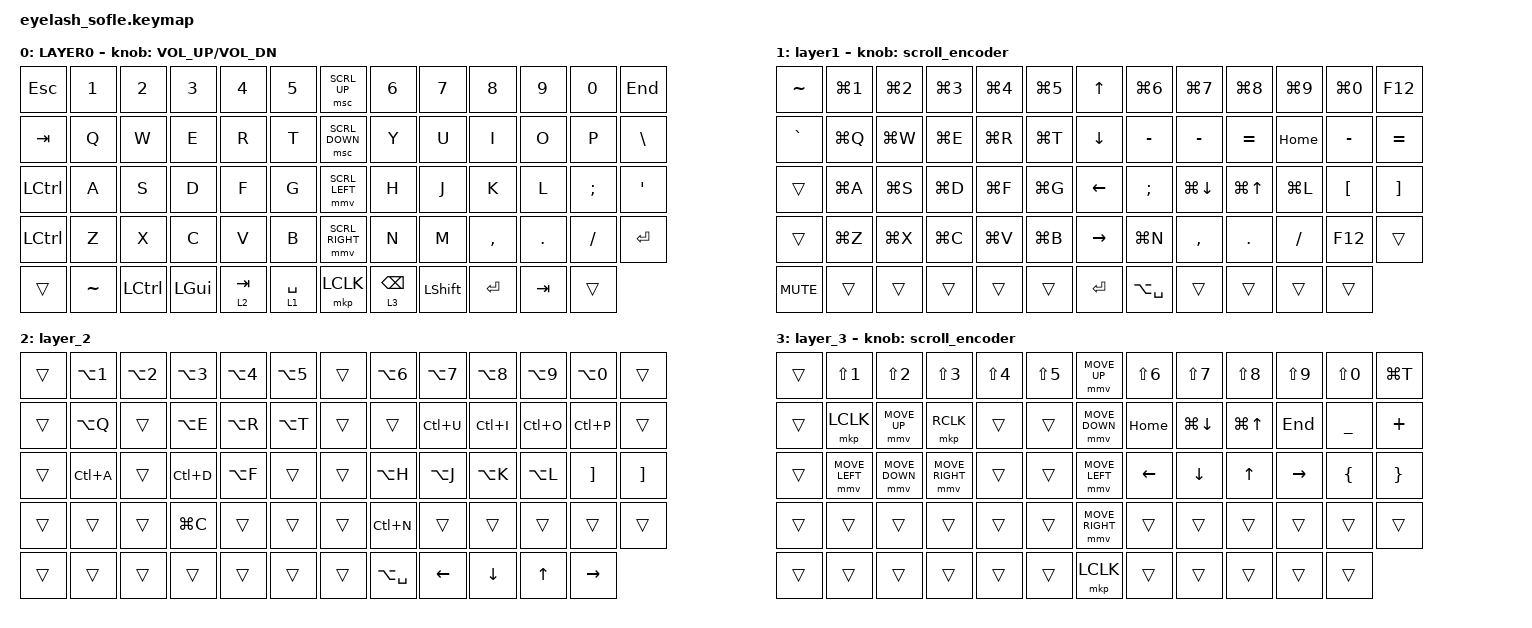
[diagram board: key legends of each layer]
#define ZMK_POINTING_DEFAULT_MOVE_VAL 1200  // 600
#define ZMK_POINTING_DEFAULT_SCRL_VAL 25   // 10

#include <input/processors.dtsi>
#include <zephyr/dt-bindings/input/input-event-codes.h>
#include <behaviors.dtsi>
#include <dt-bindings/zmk/bt.h>
#include <dt-bindings/zmk/ext_power.h>
#include <dt-bindings/zmk/keys.h>
#include <dt-bindings/zmk/pointing.h>
#include <dt-bindings/zmk/rgb.h>
#include <dt-bindings/zmk/outputs.h>

&mmv_input_listener { input-processors = <&zip_xy_scaler 2 1>; };

&msc_input_listener { input-processors = <&zip_scroll_scaler 2 1>; };

&msc {
    acceleration-exponent = <1>;      // 0
    time-to-max-speed-ms = <100>;       // 300
    delay-ms = <0>;                   // 0
};

&mmv {
    time-to-max-speed-ms = <500>;
    acceleration-exponent = <1>;
    trigger-period-ms = <16>;
};


/ {

    scroll_encoder: scroll_encoder {
        compatible = "zmk,behavior-sensor-rotate";
        #sensor-binding-cells = <0>;
        bindings = <&msc SCRL_DOWN>, <&msc SCRL_UP>;
        tap-ms = <100>;
    };

    keymap {
        compatible = "zmk,keymap";

        layer0 {
            bindings = <
&kp ESC    &kp N1     &kp N2      &kp N3        &kp N4              &kp N5        &msc SCRL_UP   &kp N6        &kp N7       &kp N8            &kp N9         &kp N0       &kp END
&kp TAB    &kp Q      &kp W       &kp E         &kp R               &kp T         &msc SCRL_DOWN      &kp Y         &kp U        &kp I             &kp O          &kp P        &kp BSLH
&kp LCTRL   &kp A      &kp S       &kp D         &kp F               &kp G         &mmv SCRL_LEFT    &kp H         &kp J        &kp K             &kp L          &kp SEMI     &kp APOS
&kp LCTRL  &kp Z      &kp X       &kp C         &kp V               &kp B         &mmv SCRL_RIGHT    &kp N         &kp M        &kp COMMA         &kp DOT        &kp FSLH     &kp ENTER
&trans     &kp TILDE     &kp LCTRL   &kp LGUI      &lt 2 TAB     &lt 1 SPACE         &mkp LCLK         &lt 3 BACKSPACE  &kp LSHFT  &kp ENTER     &kp TAB        &trans
            >;

            sensor-bindings = <&inc_dec_kp C_VOLUME_UP C_VOL_DN>;
            display-name = "LAYER0";
        };

        layer_1 {
            bindings = <
&kp TILDE      &kp LG(N1)       &kp LG(N2)      &kp LG(N3)       &kp LG(N4)     &kp LG(N5)   &kp UP_ARROW      &kp LG(N6)    &kp LG(N7)     &kp LG(N8)             &kp LG(N9)     &kp LG(N0)        &kp F12
&kp GRAVE      &kp LG(Q)        &kp LG(W)       &kp LG(E)        &kp LG(R)      &kp LG(T)    &kp DOWN_ARROW    &kp MINUS     &kp MINUS      &kp EQUAL        &kp HOME              &kp MINUS            &kp EQUAL
&trans         &kp LG(A)        &kp LG(S)       &kp LG(D)        &kp LG(F)      &kp LG(G)    &kp LEFT_ARROW    &kp SEMI      &kp LG(DOWN)      &kp LG(UP)       &kp LG(L)      &kp LEFT_BRACKET  &kp RIGHT_BRACKET
&trans         &kp LG(Z)        &kp LG(X)       &kp LG(C)        &kp LG(V)      &kp LG(B)    &kp RIGHT_ARROW   &kp LG(N)     &kp COMMA     &kp DOT        &kp FSLH                   &kp F12           &trans
&kp C_MUTE     &trans           &trans          &trans           &trans         &trans       &kp ENTER         &kp LA(SPACE) &trans         &trans                 &trans         &trans
            >;

            display-name = "layer1";
            sensor-bindings = <&scroll_encoder>;
        };

        layer_2 {
            bindings = <
&trans  &kp LA(N1) &kp LA(N2)  &kp LA(N3) &kp LA(N4) &kp LA(N5)    &trans     &kp LA(N6)      &kp LA(N7)  &kp LA(N8) &kp LA(N9) &kp LA(N0)         &trans
&trans  &kp LA(Q)  &trans      &kp LA(E)  &kp LA(R)  &kp LA(T)     &trans     &trans          &kp LC(U)   &kp LC(I)  &kp LC(O)  &kp LC(P)           &trans
&trans  &kp LC(A)  &trans      &kp LC(D)  &kp LA(F)  &trans        &trans     &kp LA(H)       &kp LA(J)   &kp LA(K)  &kp LA(L)  &kp RIGHT_BRACKET  &kp RIGHT_BRACKET
&trans  &trans     &trans      &kp LG(C)  &trans     &trans        &trans     &kp LC(N)       &trans      &trans     &trans     &trans             &trans
&trans  &trans     &trans      &trans     &trans     &trans        &trans     &kp LA(SPACE)   &kp LEFT    &kp DOWN     &kp UP  &kp RIGHT
            >;
        };

        layer_3 {
            bindings = <
&trans     &kp LS(N1)      &kp LS(N2)        &kp LS(N3)      &kp LS(N4)      &kp LS(N5)      &mmv MOVE_UP     &kp LS(N6)  &kp LS(N7)  &kp LS(N8)      &kp LS(N9)  &kp LS(N0)      &kp LG(T)
&trans     &mkp LCLK       &mmv MOVE_UP      &mkp RCLK       &trans   &trans          &mmv MOVE_DOWN   &kp HOME   &kp LG(DOWN)   &kp LG(UP)    &kp END        &kp UNDER  &kp PLUS
&trans     &mmv MOVE_LEFT  &mmv MOVE_DOWN    &mmv MOVE_RIGHT &trans   &trans          &mmv MOVE_LEFT   &kp LEFT   &kp DOWN   &kp UP     &kp RIGHT        &kp LBRC  &kp RBRC
&trans     &trans          &trans            &trans          &trans          &trans          &mmv MOVE_RIGHT  &trans    &trans      &trans       &trans &trans      &trans
&trans     &trans          &trans            &trans          &trans          &trans          &mkp LCLK        &trans      &trans       &trans         &trans      &trans
            >;

            sensor-bindings = <&scroll_encoder>;
        };
    };
};
